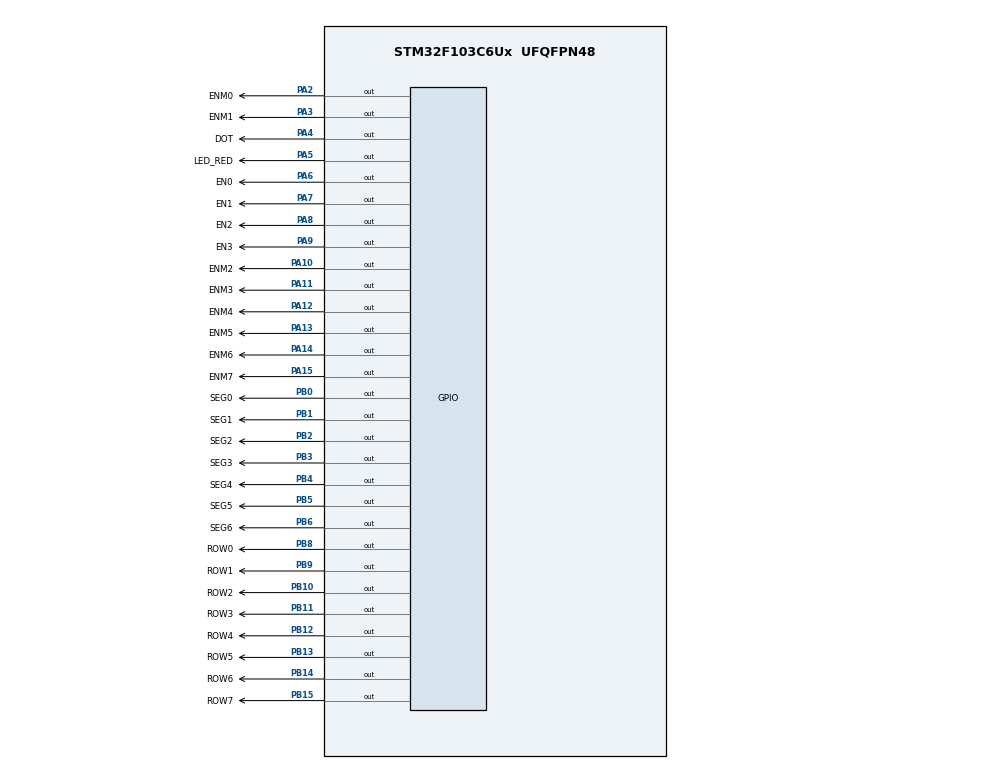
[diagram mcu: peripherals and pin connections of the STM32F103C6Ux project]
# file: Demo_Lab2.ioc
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Mcu.Family=STM32F1
Mcu.Name=STM32F103C6Ux
Mcu.Package=UFQFPN48
NVIC.PriorityGroup=NVIC_PRIORITYGROUP_4
NVIC.TIM2_IRQn=true\:0\:0\:false\:false\:true\:true\:true\:true
PA10.GPIO_Label=ENM2
PA10.Signal=GPIO_Output
PA11.GPIO_Label=ENM3
PA11.Signal=GPIO_Output
PA12.GPIO_Label=ENM4
PA12.Signal=GPIO_Output
PA13.GPIO_Label=ENM5
PA13.Signal=GPIO_Output
PA14.GPIO_Label=ENM6
PA14.Signal=GPIO_Output
PA15.GPIO_Label=ENM7
PA15.Signal=GPIO_Output
PA2.GPIO_Label=ENM0
PA2.Signal=GPIO_Output
PA3.GPIO_Label=ENM1
PA3.Signal=GPIO_Output
PA4.GPIO_Label=DOT
PA4.Signal=GPIO_Output
PA5.GPIO_Label=LED_RED
PA5.Signal=GPIO_Output
PA6.GPIO_Label=EN0
PA6.Signal=GPIO_Output
PA7.GPIO_Label=EN1
PA7.Signal=GPIO_Output
PA8.GPIO_Label=EN2
PA8.Signal=GPIO_Output
PA9.GPIO_Label=EN3
PA9.Signal=GPIO_Output
PB0.GPIO_Label=SEG0
PB0.Signal=GPIO_Output
PB1.GPIO_Label=SEG1
PB1.Signal=GPIO_Output
PB10.GPIO_Label=ROW2
PB10.Signal=GPIO_Output
PB11.GPIO_Label=ROW3
PB11.Signal=GPIO_Output
PB12.GPIO_Label=ROW4
PB12.Signal=GPIO_Output
PB13.GPIO_Label=ROW5
PB13.Signal=GPIO_Output
PB14.GPIO_Label=ROW6
PB14.Signal=GPIO_Output
PB15.GPIO_Label=ROW7
PB15.Signal=GPIO_Output
PB2.GPIO_Label=SEG2
PB2.Signal=GPIO_Output
PB3.GPIO_Label=SEG3
PB3.Signal=GPIO_Output
PB4.GPIO_Label=SEG4
PB4.Signal=GPIO_Output
PB5.GPIO_Label=SEG5
PB5.Signal=GPIO_Output
PB6.GPIO_Label=SEG6
PB6.Signal=GPIO_Output
PB8.GPIO_Label=ROW0
PB8.Signal=GPIO_Output
PB9.GPIO_Label=ROW1
PB9.Signal=GPIO_Output
ProjectManager.HeapSize=0x200
ProjectManager.StackSize=0x400
ProjectManager.TargetToolchain=STM32CubeIDE
RCC.APB1Freq_Value=8000000
RCC.APB2Freq_Value=8000000
TIM2.Period=9
TIM2.Prescaler=7999
VP_SYS_VS_ND.Mode=No_Debug
VP_TIM2_VS_ClockSourceINT.Mode=Internal
board=custom

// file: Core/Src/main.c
/* USER CODE BEGIN Header */
/**
  ******************************************************************************
  * @file           : main.c
  * @brief          : Main program body
  ******************************************************************************
  * @attention
  *
  * Copyright (c) 2024 STMicroelectronics.
  * All rights reserved.
  *
  * This software is licensed under terms that can be found in the LICENSE file
  * in the root directory of this software component.
  * If no LICENSE file comes with this software, it is provided AS-IS.
  *
  ******************************************************************************
  */
/* USER CODE END Header */
#include "main.h"

/* USER CODE BEGIN Includes */
#include "software_timer.h"
/* USER CODE END Includes */

TIM_HandleTypeDef htim2;

/* USER CODE BEGIN PV */
const int MAX_LED = 4;
int index_led = 0;
int led_buffer[4] = {1, 2, 3, 4};

int hour = 15, minute = 8, second = 50;

const int MAX_LED_MATRIX = 8;
int index_led_matrix = 0;
uint8_t matrix_buffer[8] = {0b00000000, 0b11111100, 0b00010010, 0b00010001, 0b00010001, 0b00010010, 0b11111100, 0b00000000};
/* USER CODE END PV */

void SystemClock_Config(void);
static void MX_GPIO_Init(void);
static void MX_TIM2_Init(void);
/* USER CODE BEGIN PFP */
void display7SEG(int num);
void update7SEG (int index);

void updateClockBuffer();

void displayLEDMatrix(uint8_t value);
void updateLEDMatrix(int index);
void updateMatrixBuffer();
/* USER CODE END PFP */

int main(void)
{

  /* MCU Configuration--------------------------------------------------------*/

  /* Reset of all peripherals, Initializes the Flash interface and the Systick. */
  HAL_Init();

  /* Configure the system clock */
  SystemClock_Config();

  /* Initialize all configured peripherals */
  MX_GPIO_Init();
  MX_TIM2_Init();
  /* USER CODE BEGIN 2 */
  HAL_TIM_Base_Start_IT(&htim2);
  /* USER CODE END 2 */

  /* Infinite loop */
  /* USER CODE BEGIN WHILE */
  setTimer1(1000);
  setTimer2(1000);
  setTimer3(1000);
  setTimer4(1000);

  while (1)
  {
    /* USER CODE END WHILE */
	  if (timer1_flag == 1){
//		  updateMatrixBuffer();
		  HAL_GPIO_TogglePin(LED_RED_GPIO_Port, LED_RED_Pin);
		  HAL_GPIO_TogglePin(DOT_GPIO_Port, DOT_Pin);
		  setTimer1(500);
	  }

	  if (timer2_flag == 1){

//		  update7SEG(0);
//		  update7SEG(1);
//		  update7SEG(2);
//		  update7SEG(3);

	  	  if (index_led >= MAX_LED)
	  		  index_led = 0;
	  	  update7SEG(index_led++);

	  	  if (index_led_matrix >= MAX_LED_MATRIX)
	  		  index_led_matrix = 0;
	  	  updateLEDMatrix(index_led_matrix++);

	  	  setTimer2(10);
	  }

	  if (timer3_flag == 1){
		  updateClockBuffer();
		  setTimer3(1000);
	  }

	  if (timer4_flag == 1){
		  updateMatrixBuffer();
		  setTimer4(1000);
	  }

  }
}

void SystemClock_Config(void)
{
  RCC_OscInitTypeDef RCC_OscInitStruct = {0};
  RCC_ClkInitTypeDef RCC_ClkInitStruct = {0};

  /** Initializes the RCC Oscillators according to the specified parameters
  * in the RCC_OscInitTypeDef structure.
  */
  RCC_OscInitStruct.OscillatorType = RCC_OSCILLATORTYPE_HSI;
  RCC_OscInitStruct.HSIState = RCC_HSI_ON;
  RCC_OscInitStruct.HSICalibrationValue = RCC_HSICALIBRATION_DEFAULT;
  RCC_OscInitStruct.PLL.PLLState = RCC_PLL_NONE;
  if (HAL_RCC_OscConfig(&RCC_OscInitStruct) != HAL_OK)
  {
    Error_Handler();
  }

  /** Initializes the CPU, AHB and APB buses clocks
  */
  RCC_ClkInitStruct.ClockType = RCC_CLOCKTYPE_HCLK|RCC_CLOCKTYPE_SYSCLK
                              |RCC_CLOCKTYPE_PCLK1|RCC_CLOCKTYPE_PCLK2;
  RCC_ClkInitStruct.SYSCLKSource = RCC_SYSCLKSOURCE_HSI;
  RCC_ClkInitStruct.AHBCLKDivider = RCC_SYSCLK_DIV1;
  RCC_ClkInitStruct.APB1CLKDivider = RCC_HCLK_DIV1;
  RCC_ClkInitStruct.APB2CLKDivider = RCC_HCLK_DIV1;

  if (HAL_RCC_ClockConfig(&RCC_ClkInitStruct, FLASH_LATENCY_0) != HAL_OK)
  {
    Error_Handler();
  }
}

static void MX_TIM2_Init(void)
{

  TIM_ClockConfigTypeDef sClockSourceConfig = {0};
  TIM_MasterConfigTypeDef sMasterConfig = {0};

  htim2.Instance = TIM2;
  htim2.Init.Prescaler = 7999;
  htim2.Init.CounterMode = TIM_COUNTERMODE_UP;
  htim2.Init.Period = 9;
  htim2.Init.ClockDivision = TIM_CLOCKDIVISION_DIV1;
  htim2.Init.AutoReloadPreload = TIM_AUTORELOAD_PRELOAD_DISABLE;
  if (HAL_TIM_Base_Init(&htim2) != HAL_OK)
  {
    Error_Handler();
  }
  sClockSourceConfig.ClockSource = TIM_CLOCKSOURCE_INTERNAL;
  if (HAL_TIM_ConfigClockSource(&htim2, &sClockSourceConfig) != HAL_OK)
  {
    Error_Handler();
  }
  sMasterConfig.MasterOutputTrigger = TIM_TRGO_RESET;
  sMasterConfig.MasterSlaveMode = TIM_MASTERSLAVEMODE_DISABLE;
  if (HAL_TIMEx_MasterConfigSynchronization(&htim2, &sMasterConfig) != HAL_OK)
  {
    Error_Handler();
  }

}

static void MX_GPIO_Init(void)
{
  GPIO_InitTypeDef GPIO_InitStruct = {0};

  /* GPIO Ports Clock Enable */
  __HAL_RCC_GPIOA_CLK_ENABLE();
  __HAL_RCC_GPIOB_CLK_ENABLE();

  /*Configure GPIO pin Output Level */
  HAL_GPIO_WritePin(GPIOA, ENM0_Pin|ENM1_Pin|DOT_Pin|LED_RED_Pin
                          |EN0_Pin|EN1_Pin|EN2_Pin|EN3_Pin
                          |ENM2_Pin|ENM3_Pin|ENM4_Pin|ENM5_Pin
                          |ENM6_Pin|ENM7_Pin, GPIO_PIN_RESET);

  /*Configure GPIO pin Output Level */
  HAL_GPIO_WritePin(GPIOB, SEG0_Pin|SEG1_Pin|SEG2_Pin|ROW2_Pin
                          |ROW3_Pin|ROW4_Pin|ROW5_Pin|ROW6_Pin
                          |ROW7_Pin|SEG3_Pin|SEG4_Pin|SEG5_Pin
                          |SEG6_Pin|ROW0_Pin|ROW1_Pin, GPIO_PIN_RESET);

  /*Configure GPIO pins : ENM0_Pin ENM1_Pin DOT_Pin LED_RED_Pin
                           EN0_Pin EN1_Pin EN2_Pin EN3_Pin
                           ENM2_Pin ENM3_Pin ENM4_Pin ENM5_Pin
                           ENM6_Pin ENM7_Pin */
  GPIO_InitStruct.Pin = ENM0_Pin|ENM1_Pin|DOT_Pin|LED_RED_Pin
                          |EN0_Pin|EN1_Pin|EN2_Pin|EN3_Pin
                          |ENM2_Pin|ENM3_Pin|ENM4_Pin|ENM5_Pin
                          |ENM6_Pin|ENM7_Pin;
  GPIO_InitStruct.Mode = GPIO_MODE_OUTPUT_PP;
  GPIO_InitStruct.Pull = GPIO_NOPULL;
  GPIO_InitStruct.Speed = GPIO_SPEED_FREQ_LOW;
  HAL_GPIO_Init(GPIOA, &GPIO_InitStruct);

  /*Configure GPIO pins : SEG0_Pin SEG1_Pin SEG2_Pin ROW2_Pin
                           ROW3_Pin ROW4_Pin ROW5_Pin ROW6_Pin
                           ROW7_Pin SEG3_Pin SEG4_Pin SEG5_Pin
                           SEG6_Pin ROW0_Pin ROW1_Pin */
  GPIO_InitStruct.Pin = SEG0_Pin|SEG1_Pin|SEG2_Pin|ROW2_Pin
                          |ROW3_Pin|ROW4_Pin|ROW5_Pin|ROW6_Pin
                          |ROW7_Pin|SEG3_Pin|SEG4_Pin|SEG5_Pin
                          |SEG6_Pin|ROW0_Pin|ROW1_Pin;
  GPIO_InitStruct.Mode = GPIO_MODE_OUTPUT_PP;
  GPIO_InitStruct.Pull = GPIO_NOPULL;
  GPIO_InitStruct.Speed = GPIO_SPEED_FREQ_LOW;
  HAL_GPIO_Init(GPIOB, &GPIO_InitStruct);

}

/* USER CODE BEGIN 4 */
void HAL_TIM_PeriodElapsedCallback(TIM_HandleTypeDef *htim) {
	timerRun();
}

void display7SEG(int num)
{
	switch (num)
	{
		case 0:
			HAL_GPIO_WritePin(SEG0_GPIO_Port, SEG0_Pin, GPIO_PIN_RESET);
			HAL_GPIO_WritePin(SEG1_GPIO_Port, SEG1_Pin, GPIO_PIN_RESET);
			HAL_GPIO_WritePin(SEG2_GPIO_Port, SEG2_Pin, GPIO_PIN_RESET);
			HAL_GPIO_WritePin(SEG3_GPIO_Port, SEG3_Pin, GPIO_PIN_RESET);
			HAL_GPIO_WritePin(SEG4_GPIO_Port, SEG4_Pin, GPIO_PIN_RESET);
			HAL_GPIO_WritePin(SEG5_GPIO_Port, SEG5_Pin, GPIO_PIN_RESET);
			HAL_GPIO_WritePin(SEG6_GPIO_Port, SEG6_Pin, GPIO_PIN_SET);
			break;
		case 1:
			HAL_GPIO_WritePin(SEG0_GPIO_Port, SEG0_Pin, GPIO_PIN_SET);
			HAL_GPIO_WritePin(SEG1_GPIO_Port, SEG1_Pin, GPIO_PIN_RESET);
			HAL_GPIO_WritePin(SEG2_GPIO_Port, SEG2_Pin, GPIO_PIN_RESET);
			HAL_GPIO_WritePin(SEG3_GPIO_Port, SEG3_Pin, GPIO_PIN_SET);
			HAL_GPIO_WritePin(SEG4_GPIO_Port, SEG4_Pin, GPIO_PIN_SET);
			HAL_GPIO_WritePin(SEG5_GPIO_Port, SEG5_Pin, GPIO_PIN_SET);
			HAL_GPIO_WritePin(SEG6_GPIO_Port, SEG6_Pin, GPIO_PIN_SET);
			break;
		case 2:
			HAL_GPIO_WritePin(SEG0_GPIO_Port, SEG0_Pin, GPIO_PIN_RESET);
			HAL_GPIO_WritePin(SEG1_GPIO_Port, SEG1_Pin, GPIO_PIN_RESET);
			HAL_GPIO_WritePin(SEG2_GPIO_Port, SEG2_Pin, GPIO_PIN_SET);
			HAL_GPIO_WritePin(SEG3_GPIO_Port, SEG3_Pin, GPIO_PIN_RESET);
			HAL_GPIO_WritePin(SEG4_GPIO_Port, SEG4_Pin, GPIO_PIN_RESET);
			HAL_GPIO_WritePin(SEG5_GPIO_Port, SEG5_Pin, GPIO_PIN_SET);
			HAL_GPIO_WritePin(SEG6_GPIO_Port, SEG6_Pin, GPIO_PIN_RESET);
			break;
		  case 3:
			HAL_GPIO_WritePin(SEG0_GPIO_Port, SEG0_Pin, GPIO_PIN_RESET);
			HAL_GPIO_WritePin(SEG1_GPIO_Port, SEG1_Pin, GPIO_PIN_RESET);
			HAL_GPIO_WritePin(SEG2_GPIO_Port, SEG2_Pin, GPIO_PIN_RESET);
			HAL_GPIO_WritePin(SEG3_GPIO_Port, SEG3_Pin, GPIO_PIN_RESET);
			HAL_GPIO_WritePin(SEG4_GPIO_Port, SEG4_Pin, GPIO_PIN_SET);
			HAL_GPIO_WritePin(SEG5_GPIO_Port, SEG5_Pin, GPIO_PIN_SET);
			HAL_GPIO_WritePin(SEG6_GPIO_Port, SEG6_Pin, GPIO_PIN_RESET);
			break;
		  case 4:
			HAL_GPIO_WritePin(SEG0_GPIO_Port, SEG0_Pin, GPIO_PIN_SET);
			HAL_GPIO_WritePin(SEG1_GPIO_Port, SEG1_Pin, GPIO_PIN_RESET);
			HAL_GPIO_WritePin(SEG2_GPIO_Port, SEG2_Pin, GPIO_PIN_RESET);
			HAL_GPIO_WritePin(SEG3_GPIO_Port, SEG3_Pin, GPIO_PIN_SET);
			HAL_GPIO_WritePin(SEG4_GPIO_Port, SEG4_Pin, GPIO_PIN_SET);
			HAL_GPIO_WritePin(SEG5_GPIO_Port, SEG5_Pin, GPIO_PIN_RESET);
			HAL_GPIO_WritePin(SEG6_GPIO_Port, SEG6_Pin, GPIO_PIN_RESET);
			break;
		  case 5:
			HAL_GPIO_WritePin(SEG0_GPIO_Port, SEG0_Pin, GPIO_PIN_RESET);
			HAL_GPIO_WritePin(SEG1_GPIO_Port, SEG1_Pin, GPIO_PIN_SET);
			HAL_GPIO_WritePin(SEG2_GPIO_Port, SEG2_Pin, GPIO_PIN_RESET);
			HAL_GPIO_WritePin(SEG3_GPIO_Port, SEG3_Pin, GPIO_PIN_RESET);
			HAL_GPIO_WritePin(SEG4_GPIO_Port, SEG4_Pin, GPIO_PIN_SET);
			HAL_GPIO_WritePin(SEG5_GPIO_Port, SEG5_Pin, GPIO_PIN_RESET);
			HAL_GPIO_WritePin(SEG6_GPIO_Port, SEG6_Pin, GPIO_PIN_RESET);
			break;
		  case 6:
			HAL_GPIO_WritePin(SEG0_GPIO_Port, SEG0_Pin, GPIO_PIN_RESET);
			HAL_GPIO_WritePin(SEG1_GPIO_Port, SEG1_Pin, GPIO_PIN_SET);
			HAL_GPIO_WritePin(SEG2_GPIO_Port, SEG2_Pin, GPIO_PIN_RESET);
			HAL_GPIO_WritePin(SEG3_GPIO_Port, SEG3_Pin, GPIO_PIN_RESET);
			HAL_GPIO_WritePin(SEG4_GPIO_Port, SEG4_Pin, GPIO_PIN_RESET);
			HAL_GPIO_WritePin(SEG5_GPIO_Port, SEG5_Pin, GPIO_PIN_RESET);
			HAL_GPIO_WritePin(SEG6_GPIO_Port, SEG6_Pin, GPIO_PIN_RESET);
			break;
		  case 7:
			HAL_GPIO_WritePin(SEG0_GPIO_Port, SEG0_Pin, GPIO_PIN_RESET);
			HAL_GPIO_WritePin(SEG1_GPIO_Port, SEG1_Pin, GPIO_PIN_RESET);
			HAL_GPIO_WritePin(SEG2_GPIO_Port, SEG2_Pin, GPIO_PIN_RESET);
			HAL_GPIO_WritePin(SEG3_GPIO_Port, SEG3_Pin, GPIO_PIN_SET);
			HAL_GPIO_WritePin(SEG4_GPIO_Port, SEG4_Pin, GPIO_PIN_SET);
			HAL_GPIO_WritePin(SEG5_GPIO_Port, SEG5_Pin, GPIO_PIN_SET);
			HAL_GPIO_WritePin(SEG6_GPIO_Port, SEG6_Pin, GPIO_PIN_SET);
			break;
		  case 8:
			HAL_GPIO_WritePin(SEG0_GPIO_Port, SEG0_Pin, GPIO_PIN_RESET);
			HAL_GPIO_WritePin(SEG1_GPIO_Port, SEG1_Pin, GPIO_PIN_RESET);
			HAL_GPIO_WritePin(SEG2_GPIO_Port, SEG2_Pin, GPIO_PIN_RESET);
			HAL_GPIO_WritePin(SEG3_GPIO_Port, SEG3_Pin, GPIO_PIN_RESET);
			HAL_GPIO_WritePin(SEG4_GPIO_Port, SEG4_Pin, GPIO_PIN_RESET);
			HAL_GPIO_WritePin(SEG5_GPIO_Port, SEG5_Pin, GPIO_PIN_RESET);
			HAL_GPIO_WritePin(SEG6_GPIO_Port, SEG6_Pin, GPIO_PIN_RESET);
			break;
		  case 9:
			HAL_GPIO_WritePin(SEG0_GPIO_Port, SEG0_Pin, GPIO_PIN_RESET);
			HAL_GPIO_WritePin(SEG1_GPIO_Port, SEG1_Pin, GPIO_PIN_RESET);
			HAL_GPIO_WritePin(SEG2_GPIO_Port, SEG2_Pin, GPIO_PIN_RESET);
			HAL_GPIO_WritePin(SEG3_GPIO_Port, SEG3_Pin, GPIO_PIN_RESET);
			HAL_GPIO_WritePin(SEG4_GPIO_Port, SEG4_Pin, GPIO_PIN_SET);
			HAL_GPIO_WritePin(SEG5_GPIO_Port, SEG5_Pin, GPIO_PIN_RESET);
			HAL_GPIO_WritePin(SEG6_GPIO_Port, SEG6_Pin, GPIO_PIN_RESET);
			break;
		  default:
			  break;
	}
}

void update7SEG(int index)
{
	switch (index)
	{
		case 0:
			HAL_GPIO_WritePin(EN3_GPIO_Port, EN3_Pin, GPIO_PIN_SET);
			HAL_GPIO_WritePin(EN2_GPIO_Port, EN2_Pin, GPIO_PIN_SET);
			HAL_GPIO_WritePin(EN1_GPIO_Port, EN1_Pin, GPIO_PIN_SET);
			HAL_GPIO_WritePin(EN0_GPIO_Port, EN0_Pin, GPIO_PIN_RESET);
			display7SEG(led_buffer[index]);
			break;
		case 1:
			HAL_GPIO_WritePin(EN0_GPIO_Port, EN0_Pin, GPIO_PIN_SET);
			HAL_GPIO_WritePin(EN3_GPIO_Port, EN3_Pin, GPIO_PIN_SET);
			HAL_GPIO_WritePin(EN2_GPIO_Port, EN2_Pin, GPIO_PIN_SET);
			HAL_GPIO_WritePin(EN1_GPIO_Port, EN1_Pin, GPIO_PIN_RESET);
			display7SEG(led_buffer[index]);
			break;
		case 2:
			HAL_GPIO_WritePin(EN1_GPIO_Port, EN1_Pin, GPIO_PIN_SET);
			HAL_GPIO_WritePin(EN0_GPIO_Port, EN0_Pin, GPIO_PIN_SET);
			HAL_GPIO_WritePin(EN3_GPIO_Port, EN3_Pin, GPIO_PIN_SET);
			HAL_GPIO_WritePin(EN2_GPIO_Port, EN2_Pin, GPIO_PIN_RESET);
			display7SEG(led_buffer[index]);
			break;
		case 3:
			HAL_GPIO_WritePin(EN2_GPIO_Port, EN2_Pin, GPIO_PIN_SET);
			HAL_GPIO_WritePin(EN1_GPIO_Port, EN1_Pin, GPIO_PIN_SET);
			HAL_GPIO_WritePin(EN0_GPIO_Port, EN0_Pin, GPIO_PIN_SET);
			HAL_GPIO_WritePin(EN3_GPIO_Port, EN3_Pin, GPIO_PIN_RESET);
			display7SEG(led_buffer[index]);
			break;
		default:
			break;
	}
}

void updateClockBuffer()
{
	second++;
	if (second >= 60)
	{
		second = 0;
		minute++;
	}
	if (minute >= 60)
	{
		minute = 0;
		hour++;
	}
	if (hour >= 24)
	{
		hour = 0;
	}

	led_buffer[2] = minute / 10;
	led_buffer[3] = minute % 10;
	led_buffer[0] = hour / 10;
	led_buffer[1] = hour % 10;
}

void displayLEDMtrix(uint8_t value)
{
	if (value & (1U << 0))
		HAL_GPIO_WritePin(ROW0_GPIO_Port, ROW0_Pin, GPIO_PIN_RESET);
	else
		HAL_GPIO_WritePin(ROW0_GPIO_Port, ROW0_Pin, GPIO_PIN_SET);

	if (value & (1U << 1))
		HAL_GPIO_WritePin(ROW1_GPIO_Port, ROW1_Pin, GPIO_PIN_RESET);
	else
		HAL_GPIO_WritePin(ROW1_GPIO_Port, ROW1_Pin, GPIO_PIN_SET);

	if (value & (1U << 2))
		HAL_GPIO_WritePin(ROW2_GPIO_Port, ROW2_Pin, GPIO_PIN_RESET);
	else
		HAL_GPIO_WritePin(ROW2_GPIO_Port, ROW2_Pin, GPIO_PIN_SET);

	if (value & (1U << 3))
		HAL_GPIO_WritePin(ROW3_GPIO_Port, ROW3_Pin, GPIO_PIN_RESET);
	else
		HAL_GPIO_WritePin(ROW3_GPIO_Port, ROW3_Pin, GPIO_PIN_SET);

	if (value & (1U << 4))
		HAL_GPIO_WritePin(ROW4_GPIO_Port, ROW4_Pin, GPIO_PIN_RESET);
	else
		HAL_GPIO_WritePin(ROW4_GPIO_Port, ROW4_Pin, GPIO_PIN_SET);

	if (value & (1U << 5))
		HAL_GPIO_WritePin(ROW5_GPIO_Port, ROW5_Pin, GPIO_PIN_RESET);
	else
		HAL_GPIO_WritePin(ROW5_GPIO_Port, ROW5_Pin, GPIO_PIN_SET);

	if (value & (1U << 6))
		HAL_GPIO_WritePin(ROW6_GPIO_Port, ROW6_Pin, GPIO_PIN_RESET);
	else
		HAL_GPIO_WritePin(ROW6_GPIO_Port, ROW6_Pin, GPIO_PIN_SET);

	if (value & (1U << 7))
		HAL_GPIO_WritePin(ROW7_GPIO_Port, ROW7_Pin, GPIO_PIN_RESET);
	else
		HAL_GPIO_WritePin(ROW7_GPIO_Port, ROW7_Pin, GPIO_PIN_SET);
}

void updateLEDMatrix(int index)
{
	switch (index)
	{
		case 0:
			HAL_GPIO_WritePin(ENM7_GPIO_Port, ENM7_Pin, GPIO_PIN_SET);
			HAL_GPIO_WritePin(ENM6_GPIO_Port, ENM6_Pin, GPIO_PIN_SET);
			HAL_GPIO_WritePin(ENM5_GPIO_Port, ENM5_Pin, GPIO_PIN_SET);
			HAL_GPIO_WritePin(ENM4_GPIO_Port, ENM4_Pin, GPIO_PIN_SET);
			HAL_GPIO_WritePin(ENM3_GPIO_Port, ENM3_Pin, GPIO_PIN_SET);
			HAL_GPIO_WritePin(ENM2_GPIO_Port, ENM2_Pin, GPIO_PIN_SET);
			HAL_GPIO_WritePin(ENM1_GPIO_Port, ENM1_Pin, GPIO_PIN_SET);
			HAL_GPIO_WritePin(ENM0_GPIO_Port, ENM0_Pin, GPIO_PIN_RESET);
			displayLEDMtrix(matrix_buffer[index]);
			break;
		case 1:
			HAL_GPIO_WritePin(ENM0_GPIO_Port, ENM0_Pin, GPIO_PIN_SET);
			HAL_GPIO_WritePin(ENM7_GPIO_Port, ENM7_Pin, GPIO_PIN_SET);
			HAL_GPIO_WritePin(ENM6_GPIO_Port, ENM6_Pin, GPIO_PIN_SET);
			HAL_GPIO_WritePin(ENM5_GPIO_Port, ENM5_Pin, GPIO_PIN_SET);
			HAL_GPIO_WritePin(ENM4_GPIO_Port, ENM4_Pin, GPIO_PIN_SET);
			HAL_GPIO_WritePin(ENM3_GPIO_Port, ENM3_Pin, GPIO_PIN_SET);
			HAL_GPIO_WritePin(ENM2_GPIO_Port, ENM2_Pin, GPIO_PIN_SET);
			HAL_GPIO_WritePin(ENM1_GPIO_Port, ENM1_Pin, GPIO_PIN_RESET);
			displayLEDMtrix(matrix_buffer[index]);
			break;
		case 2:
			HAL_GPIO_WritePin(ENM1_GPIO_Port, ENM1_Pin, GPIO_PIN_SET);
			HAL_GPIO_WritePin(ENM0_GPIO_Port, ENM0_Pin, GPIO_PIN_SET);
			HAL_GPIO_WritePin(ENM7_GPIO_Port, ENM7_Pin, GPIO_PIN_SET);
			HAL_GPIO_WritePin(ENM6_GPIO_Port, ENM6_Pin, GPIO_PIN_SET);
			HAL_GPIO_WritePin(ENM5_GPIO_Port, ENM5_Pin, GPIO_PIN_SET);
			HAL_GPIO_WritePin(ENM4_GPIO_Port, ENM4_Pin, GPIO_PIN_SET);
			HAL_GPIO_WritePin(ENM3_GPIO_Port, ENM3_Pin, GPIO_PIN_SET);
			HAL_GPIO_WritePin(ENM2_GPIO_Port, ENM2_Pin, GPIO_PIN_RESET);
			displayLEDMtrix(matrix_buffer[index]);
			break;
		case 3:
			HAL_GPIO_WritePin(ENM2_GPIO_Port, ENM2_Pin, GPIO_PIN_SET);
			HAL_GPIO_WritePin(ENM1_GPIO_Port, ENM1_Pin, GPIO_PIN_SET);
			HAL_GPIO_WritePin(ENM0_GPIO_Port, ENM0_Pin, GPIO_PIN_SET);
			HAL_GPIO_WritePin(ENM7_GPIO_Port, ENM7_Pin, GPIO_PIN_SET);
			HAL_GPIO_WritePin(ENM6_GPIO_Port, ENM6_Pin, GPIO_PIN_SET);
			HAL_GPIO_WritePin(ENM5_GPIO_Port, ENM5_Pin, GPIO_PIN_SET);
			HAL_GPIO_WritePin(ENM4_GPIO_Port, ENM4_Pin, GPIO_PIN_SET);
			HAL_GPIO_WritePin(ENM3_GPIO_Port, ENM3_Pin, GPIO_PIN_RESET);
			displayLEDMtrix(matrix_buffer[index]);
			break;
		case 4:
			HAL_GPIO_WritePin(ENM3_GPIO_Port, ENM3_Pin, GPIO_PIN_SET);
			HAL_GPIO_WritePin(ENM2_GPIO_Port, ENM2_Pin, GPIO_PIN_SET);
			HAL_GPIO_WritePin(ENM1_GPIO_Port, ENM1_Pin, GPIO_PIN_SET);
			HAL_GPIO_WritePin(ENM0_GPIO_Port, ENM0_Pin, GPIO_PIN_SET);
			HAL_GPIO_WritePin(ENM7_GPIO_Port, ENM7_Pin, GPIO_PIN_SET);
			HAL_GPIO_WritePin(ENM6_GPIO_Port, ENM6_Pin, GPIO_PIN_SET);
			HAL_GPIO_WritePin(ENM5_GPIO_Port, ENM5_Pin, GPIO_PIN_SET);
			HAL_GPIO_WritePin(ENM4_GPIO_Port, ENM4_Pin, GPIO_PIN_RESET);
			displayLEDMtrix(matrix_buffer[index]);
			break;
		case 5:
			HAL_GPIO_WritePin(ENM4_GPIO_Port, ENM4_Pin, GPIO_PIN_SET);
			HAL_GPIO_WritePin(ENM3_GPIO_Port, ENM3_Pin, GPIO_PIN_SET);
			HAL_GPIO_WritePin(ENM2_GPIO_Port, ENM2_Pin, GPIO_PIN_SET);
			HAL_GPIO_WritePin(ENM1_GPIO_Port, ENM1_Pin, GPIO_PIN_SET);
			HAL_GPIO_WritePin(ENM0_GPIO_Port, ENM0_Pin, GPIO_PIN_SET);
			HAL_GPIO_WritePin(ENM7_GPIO_Port, ENM7_Pin, GPIO_PIN_SET);
			HAL_GPIO_WritePin(ENM6_GPIO_Port, ENM6_Pin, GPIO_PIN_SET);
			HAL_GPIO_WritePin(ENM5_GPIO_Port, ENM5_Pin, GPIO_PIN_RESET);
			displayLEDMtrix(matrix_buffer[index]);
			break;
		case 6:
			HAL_GPIO_WritePin(ENM5_GPIO_Port, ENM5_Pin, GPIO_PIN_SET);
			HAL_GPIO_WritePin(ENM4_GPIO_Port, ENM4_Pin, GPIO_PIN_SET);
			HAL_GPIO_WritePin(ENM3_GPIO_Port, ENM3_Pin, GPIO_PIN_SET);
			HAL_GPIO_WritePin(ENM2_GPIO_Port, ENM2_Pin, GPIO_PIN_SET);
			HAL_GPIO_WritePin(ENM1_GPIO_Port, ENM1_Pin, GPIO_PIN_SET);
			HAL_GPIO_WritePin(ENM0_GPIO_Port, ENM0_Pin, GPIO_PIN_SET);
			HAL_GPIO_WritePin(ENM7_GPIO_Port, ENM7_Pin, GPIO_PIN_SET);
			HAL_GPIO_WritePin(ENM6_GPIO_Port, ENM6_Pin, GPIO_PIN_RESET);
			displayLEDMtrix(matrix_buffer[index]);
			break;
		case 7:
			HAL_GPIO_WritePin(ENM6_GPIO_Port, ENM6_Pin, GPIO_PIN_SET);
			HAL_GPIO_WritePin(ENM5_GPIO_Port, ENM5_Pin, GPIO_PIN_SET);
			HAL_GPIO_WritePin(ENM4_GPIO_Port, ENM4_Pin, GPIO_PIN_SET);
			HAL_GPIO_WritePin(ENM3_GPIO_Port, ENM3_Pin, GPIO_PIN_SET);
			HAL_GPIO_WritePin(ENM2_GPIO_Port, ENM2_Pin, GPIO_PIN_SET);
			HAL_GPIO_WritePin(ENM1_GPIO_Port, ENM1_Pin, GPIO_PIN_SET);
			HAL_GPIO_WritePin(ENM0_GPIO_Port, ENM0_Pin, GPIO_PIN_SET);
			HAL_GPIO_WritePin(ENM7_GPIO_Port, ENM7_Pin, GPIO_PIN_RESET);
			displayLEDMtrix(matrix_buffer[index]);
			break;
		default:
			break;
	}
}

void updateMatrixBuffer()
{
	uint8_t temp = matrix_buffer[0];
	matrix_buffer[0] = matrix_buffer[1];
	matrix_buffer[1] = matrix_buffer[2];
	matrix_buffer[2] = matrix_buffer[3];
	matrix_buffer[3] = matrix_buffer[4];
	matrix_buffer[4] = matrix_buffer[5];
	matrix_buffer[5] = matrix_buffer[6];
	matrix_buffer[6] = matrix_buffer[7];
	matrix_buffer[7] = temp;
}
/* USER CODE END 4 */

void Error_Handler(void)
{
  __disable_irq();
  while (1)
  {
  }
}
